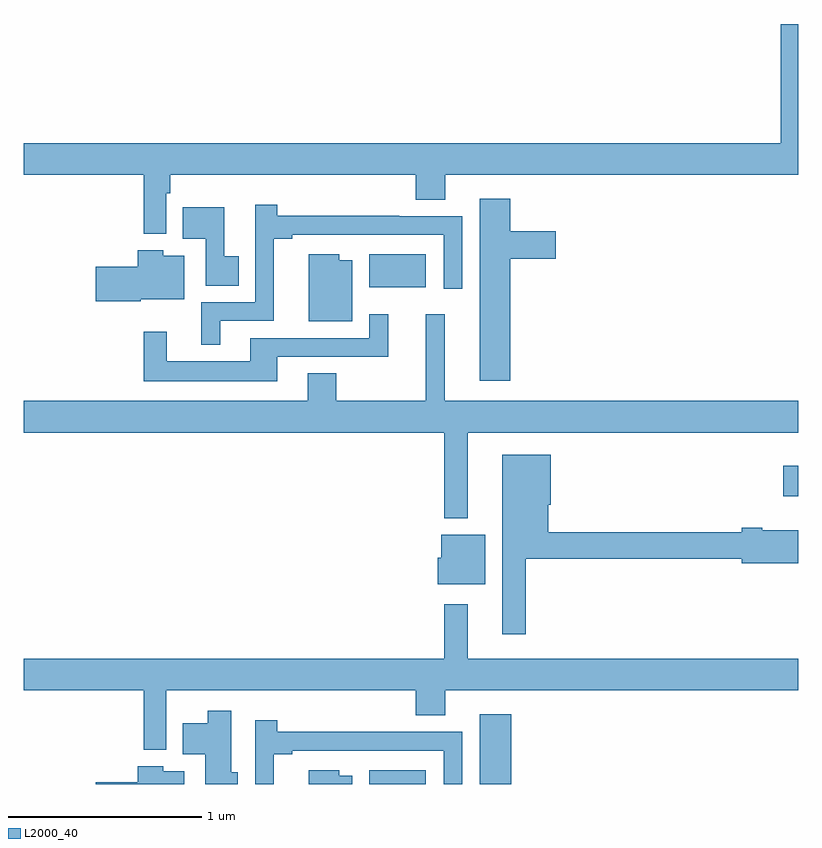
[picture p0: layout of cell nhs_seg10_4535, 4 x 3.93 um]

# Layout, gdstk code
import gdstk
lib = gdstk.Library(unit=1e-6, precision=1e-09)
def R(c, l, rs):  # rectangles x0, y0, x1, y1
    for r in rs: c.add(gdstk.rectangle(r[:2], r[2:], *l))
def P(c, l, *ps):  # polygons
    for p in ps: c.add(gdstk.Polygon(p, *l))
L2000_40 = (2000, 40)

nhs_seg10_4535 = lib.new_cell('nhs_seg10_4535')
R(nhs_seg10_4535, L2000_40, [(370.784,1298.5,371.077,1298.572), (371.354,1298.5,371.518,1298.86), (372.924,1299.986,373,1300.144), (370.784,1301.066,371.077,1301.236)])
P(nhs_seg10_4535, L2000_40, [(369.735,1301.552),(369.755,1301.552),(369.755,1301.648),(371.024,1301.648),(371.024,1301.518),(371.176,1301.518),(371.176,1301.648),(373,1301.648),(373,1302.427),(372.911,1302.427),(372.911,1301.812),(369,1301.812),(369,1301.648),(369.619,1301.648),(369.619,1301.342),(369.735,1301.342)],
  [(371.513,1301.213),(371.749,1301.213),(371.749,1301.355),(371.513,1301.355),(371.513,1301.524),(371.354,1301.524),(371.354,1300.584),(371.513,1300.584)],
  [(370.015,1300.893),(370.292,1300.893),(370.292,1301.317),(370.387,1301.317),(370.387,1301.337),(371.169,1301.337),(371.169,1301.058),(371.265,1301.058),(371.265,1301.433),(370.94,1301.433),(370.94,1301.435),(370.31,1301.435),(370.31,1301.494),(370.194,1301.494),(370.194,1300.989),(369.917,1300.989),(369.917,1300.769),(370.015,1300.769)],
  [(370.109,1301.226),(370.036,1301.226),(370.036,1301.479),(369.82,1301.479),(369.82,1301.318),(369.939,1301.318),(369.939,1301.074),(370.109,1301.074)],
  [(369.603,1301.006),(369.829,1301.006),(369.829,1301.23),(369.72,1301.23),(369.72,1301.257),(369.587,1301.257),(369.587,1301.172),(369.372,1301.172),(369.372,1300.994),(369.603,1300.994)],
  [(370.696,1301.206),(370.63,1301.206),(370.63,1301.236),(370.472,1301.236),(370.472,1300.892),(370.696,1300.892)],
  [(370.309,1300.707),(370.883,1300.707),(370.883,1300.927),(370.785,1300.927),(370.785,1300.803),(370.169,1300.803),(370.169,1300.684),(369.739,1300.684),(369.739,1300.837),(369.618,1300.837),(369.618,1300.58),(370.309,1300.58)],
  [(371.293,1300.316),(373,1300.316),(373,1300.48),(371.174,1300.48),(371.174,1300.927),(371.075,1300.927),(371.075,1300.48),(370.614,1300.48),(370.614,1300.622),(370.466,1300.622),(370.466,1300.48),(369,1300.48),(369,1300.316),(371.172,1300.316),(371.172,1299.872),(371.293,1299.872)],
  [(371.593,1299.664),(372.71,1299.664),(372.71,1299.641),(373,1299.641),(373,1299.811),(372.814,1299.811),(372.814,1299.824),(372.71,1299.824),(372.71,1299.8),(371.71,1299.8),(371.71,1299.942),(371.722,1299.942),(371.722,1300.201),(371.471,1300.201),(371.471,1299.273),(371.593,1299.273)],
  [(371.383,1299.787),(371.156,1299.787),(371.156,1299.669),(371.138,1299.669),(371.138,1299.533),(371.383,1299.533)],
  [(369.735,1298.984),(371.024,1298.984),(371.024,1298.854),(371.176,1298.854),(371.176,1298.984),(373,1298.984),(373,1299.148),(371.293,1299.148),(371.293,1299.43),(371.172,1299.43),(371.172,1299.148),(369,1299.148),(369,1298.984),(369.619,1298.984),(369.619,1298.678),(369.735,1298.678)],
  [(370.105,1298.562),(370.072,1298.562),(370.072,1298.878),(369.95,1298.878),(369.95,1298.815),(369.82,1298.815),(369.82,1298.654),(369.938,1298.654),(369.938,1298.5),(370.105,1298.5)],
  [(370.292,1298.653),(370.387,1298.653),(370.387,1298.673),(371.169,1298.673),(371.169,1298.5),(371.265,1298.5),(371.265,1298.769),(370.94,1298.769),(370.94,1298.771),(370.31,1298.771),(370.31,1298.83),(370.194,1298.83),(370.194,1298.5),(370.292,1298.5)],
  [(369.829,1298.566),(369.72,1298.566),(369.72,1298.593),(369.587,1298.593),(369.587,1298.508),(369.372,1298.508),(369.372,1298.5),(369.829,1298.5)],
  [(370.696,1298.542),(370.63,1298.542),(370.63,1298.572),(370.472,1298.572),(370.472,1298.5),(370.696,1298.5)])

lib.write_gds('nhs_seg10_4535.gds')
